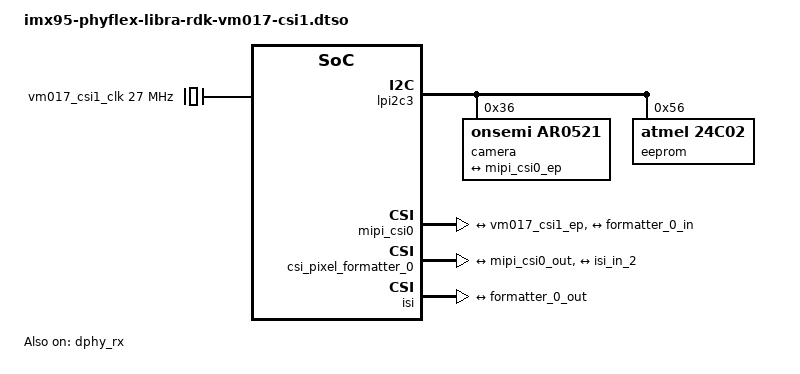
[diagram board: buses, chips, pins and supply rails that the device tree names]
// SPDX-License-Identifier: (GPL-2.0+ OR MIT)
/*
 * Copyright (C) 2025 PHYTEC Messtechnik GmbH
 * Author: Stefan Riedmüller <s.riedmueller@phytec.de>
 */

/dts-v1/;
/plugin/;

#include <dt-bindings/media/video-interfaces.h>

&{/} {
	vm017_csi1_clk: vm017-csi1-ext-clk {
		#clock-cells = <0>;
		compatible = "fixed-clock";
		clock-frequency = <27000000>;
	};
};

&lpi2c3 {
	#address-cells = <1>;
	#size-cells = <0>;
	status = "okay";

	camera@36 {
		#address-cells = <0x1>;
		#size-cells = <0x0>;

		compatible = "onsemi,ar0521";
		reg = <0x36>;
		clocks = <&vm017_csi1_clk>;
		clock-names = "ext";
		orientation = <2>;
		rotation = <0>;

		port@0 {
			reg = <0>;

			vm017_csi1_ep: endpoint {
				remote-endpoint = <&mipi_csi0_ep>;
				bus-type = <MEDIA_BUS_TYPE_CSI2_DPHY>;
				link-frequencies = /bits/ 64 <504000000>;
				data-lanes = <1 2 3 4>;
				clock-lanes = <0>;
				clock-noncontinuous = <1>;
			};
		};
	};

	eeprom@56 {
		compatible = "atmel,24c02";
		reg = <0x56>;
		pagesize = <16>;
	};
};

&dphy_rx {
	status = "okay";
};

&mipi_csi0 {
	status = "okay";

	ports {
		#address-cells = <1>;
		#size-cells = <0>;

		port@0 {
			reg = <0>;
			mipi_csi0_ep: endpoint {
				remote-endpoint = <&vm017_csi1_ep>;
				data-lanes = <1 2 3 4>;
				clock-lanes = <0>;
			};
		};

		port@1 {
			reg = <1>;
				mipi_csi0_out: endpoint {
				remote-endpoint = <&formatter_0_in>;
			};
		};
	};
};

&csi_pixel_formatter_0 {
	status = "okay";

	ports {
		#address-cells = <1>;
		#size-cells = <0>;

		port@0 {
			reg = <0>;

			formatter_0_in: endpoint {
				remote-endpoint = <&mipi_csi0_out>;
			};
		};

		port@1 {
			reg = <1>;

			formatter_0_out: endpoint {
				remote-endpoint = <&isi_in_2>;
			};
		};
	};
};

&isi {
	status = "okay";
	dma-coherent;

	ports {
		#address-cells = <1>;
		#size-cells = <0>;

		port@2 {
			reg = <2>;

			isi_in_2: endpoint {
				remote-endpoint = <&formatter_0_out>;
			};
		};
	};
};
